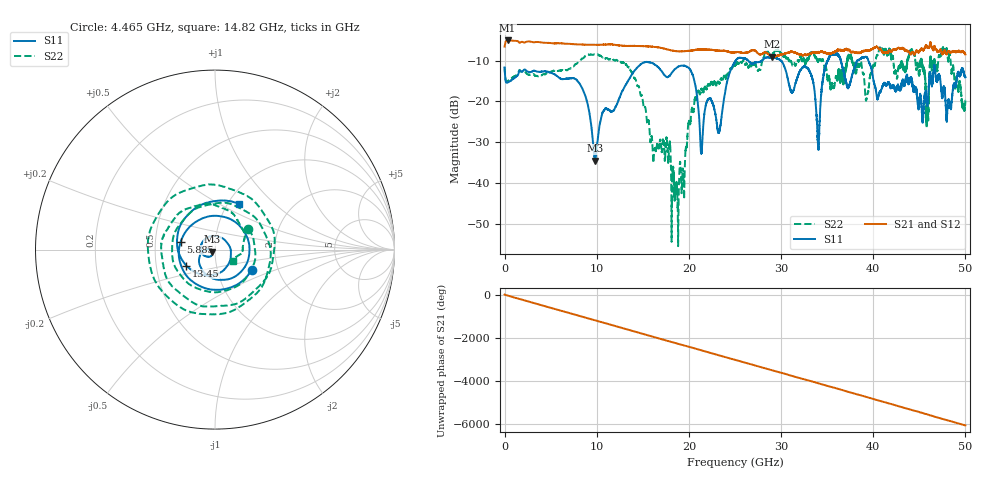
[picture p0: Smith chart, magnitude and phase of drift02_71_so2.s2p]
!Created with skrf (http://scikit-rf.org).
# Hz S RI R 50.0
!freq ReS11 ImS11 ReS21 ImS21 ReS12 ImS12 ReS22 ImS22
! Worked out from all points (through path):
!   10001 points, 300 kHz to 50 GHz, reference 50 ohm
!   highest |S21| = -5.04 dB at 325.3 MHz (marker M1); lowest = -9.0 dB at 29.01 GHz (marker M2)
!   group delay of S21, straight-line fit = 336 ps
!   lowest |S11| = -34.6 dB at 9.84 GHz (marker M3), VSWR 1.04, Z = 48.5 - j1.04 ohm
!   |S11| at or under -10 dB: start of sweep to 25.08 GHz; 30 GHz to 35.06 GHz (5.062 GHz wide, 15.6 % of centre); 39.48 GHz to end of sweep (the widest 3 of 7)
!   |S22| runs from -55.5 to -6.6 dB; largest |S21 - S12| = 0.021
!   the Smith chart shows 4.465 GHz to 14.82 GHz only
!   S11 on the Smith chart (normalised r, x): 4.465 GHz: 1.47, -0.35; 5.885 GHz: 0.68, +0.06; 13.45 GHz: 0.71, -0.13; 14.82 GHz: 1.13, +0.62
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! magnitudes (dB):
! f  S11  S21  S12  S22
! 300 kHz  -11.7  -6.5  -6.5  -11.6
! 325.3 MHz  -15.4  -5.0  -5.0  -15.0
! 4.465 GHz  -12.6  -5.6  -5.6  -13.3
! 5.885 GHz  -14.2  -5.7  -5.7  -12.5
! 8.335 GHz  -16.4  -6.0  -6.0  -9.6
! 9.84 GHz  -34.6  -6.1  -6.1  -8.5
! 13.45 GHz  -14.7  -6.4  -6.4  -11.6
! 14.82 GHz  -10.8  -6.4  -6.4  -18.5
! 16.67 GHz  -11.6  -6.7  -6.7  -31.2
! 18.66 GHz  -11.8  -7.7  -7.7  -41.2
! 20.37 GHz  -13.3  -7.5  -7.5  -21.8
! 21.37 GHz  -32.1  -7.2  -7.2  -16.9
! 23.31 GHz  -27.4  -7.6  -7.6  -15.5
! 25 GHz  -10.3  -7.9  -8.0  -11.2
! 29.01 GHz  -9.1  -9.0  -9.0  -8.2
! 33.34 GHz  -14.0  -8.1  -8.2  -8.0
! 34.02 GHz  -31.7  -7.9  -7.9  -10.2
! 35.51 GHz  -8.4  -8.2  -8.1  -15.5
! 41.67 GHz  -15.4  -7.7  -7.8  -7.6
! 45.86 GHz  -21.0  -6.7  -6.8  -21.7
! 47.77 GHz  -17.7  -7.6  -7.6  -7.3
! 50 GHz  -14.0  -8.5  -8.4  -19.8
